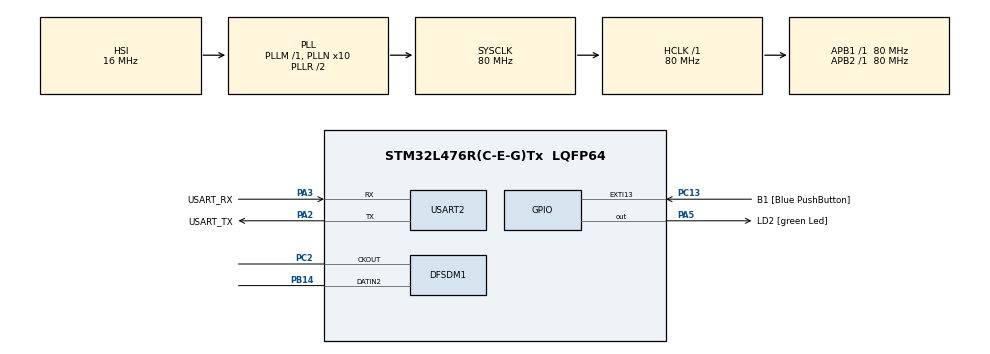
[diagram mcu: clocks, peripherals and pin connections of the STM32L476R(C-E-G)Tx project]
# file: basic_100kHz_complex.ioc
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DFSDM1.Divider=25
DFSDM1.DmaMode_reg_FIL0=ENABLE
DFSDM1.FastMode_reg_FIL0=ENABLE
DFSDM1.Filter_regChannel_FIL0=DFSDM_CHANNEL_2
DFSDM1.Filter_regChannel_FIL1=__NULL
DFSDM1.Filter_regChannel_FIL2=__NULL
DFSDM1.Fosr_FIL0=32
DFSDM1.Iosr_FIL0=1
DFSDM1.Offset_CH2=0
DFSDM1.Oversampling_CH2=10
DFSDM1.RightBitShift_CH2=0x2
DFSDM1.SincOrder_FIL0=DFSDM_FILTER_SINC5_ORDER
Dma.DFSDM1_FLT0.0.Direction=DMA_PERIPH_TO_MEMORY
Dma.DFSDM1_FLT0.0.Instance=DMA1_Channel4
Dma.DFSDM1_FLT0.0.MemDataAlignment=DMA_MDATAALIGN_WORD
Dma.DFSDM1_FLT0.0.MemInc=DMA_MINC_ENABLE
Dma.DFSDM1_FLT0.0.Mode=DMA_CIRCULAR
Dma.DFSDM1_FLT0.0.PeriphDataAlignment=DMA_PDATAALIGN_WORD
Dma.DFSDM1_FLT0.0.PeriphInc=DMA_PINC_DISABLE
Dma.DFSDM1_FLT0.0.Priority=DMA_PRIORITY_MEDIUM
Dma.Request0=DFSDM1_FLT0
Mcu.Family=STM32L4
Mcu.Name=STM32L476R(C-E-G)Tx
Mcu.Package=LQFP64
NVIC.DMA1_Channel4_IRQn=true\:0\:0\:true\:false\:true\:false
NVIC.EXTI15_10_IRQn=true\:0\:0\:false\:false\:true\:true
NVIC.PriorityGroup=NVIC_PRIORITYGROUP_4
NVIC.USART2_IRQn=true\:0\:0\:false\:false\:true\:true
PA13\ (JTMS-SWDIO).GPIO_Label=TMS
PA13\ (JTMS-SWDIO).Mode=Serial_Wire
PA13\ (JTMS-SWDIO).Signal=SYS_JTMS-SWDIO
PA14\ (JTCK-SWCLK).GPIO_Label=TCK
PA14\ (JTCK-SWCLK).Mode=Serial_Wire
PA14\ (JTCK-SWCLK).Signal=SYS_JTCK-SWCLK
PA2.GPIO_Label=USART_TX
PA2.GPIO_Mode=GPIO_MODE_AF_PP
PA2.GPIO_PuPd=GPIO_NOPULL
PA2.GPIO_Speed=GPIO_SPEED_FREQ_VERY_HIGH
PA2.Mode=Asynchronous
PA2.Signal=USART2_TX
PA3.GPIO_Label=USART_RX
PA3.GPIO_Mode=GPIO_MODE_AF_PP
PA3.GPIO_PuPd=GPIO_NOPULL
PA3.GPIO_Speed=GPIO_SPEED_FREQ_VERY_HIGH
PA3.Mode=Asynchronous
PA3.Signal=USART2_RX
PA5.GPIO_Label=LD2 [green Led]
PA5.GPIO_ModeDefaultOutputPP=GPIO_MODE_OUTPUT_PP
PA5.GPIO_PuPd=GPIO_NOPULL
PA5.GPIO_Speed=GPIO_SPEED_FREQ_LOW
PA5.Signal=GPIO_Output
PB14.Signal=S_DATAIN2DFSDM1
PB3\ (JTDO-TRACESWO).GPIO_Label=SWO
PB3\ (JTDO-TRACESWO).Signal=SYS_JTDO-SWO
PC13.GPIO_Label=B1 [Blue PushButton]
PC13.GPIO_ModeDefaultEXTI=GPIO_MODE_IT_FALLING
PC13.GPIO_PuPd=GPIO_NOPULL
PC13.Signal=GPXTI13
PC2.Signal=S_CKOUTDFSDM1
ProjectManager.HeapSize=0x200
ProjectManager.StackSize=0x400
ProjectManager.TargetToolchain=TrueSTUDIO
RCC.ADCFreq_Value=64000000
RCC.AHBFreq_Value=80000000
RCC.APB1Freq_Value=80000000
RCC.APB1TimFreq_Value=80000000
RCC.APB2Freq_Value=80000000
RCC.APB2TimFreq_Value=80000000
RCC.CortexFreq_Value=80000000
RCC.HCLKFreq_Value=80000000
RCC.HSE_VALUE=8000000
RCC.HSI_VALUE=16000000
RCC.LSE_VALUE=32768
RCC.MSI_VALUE=4000000
RCC.PLLN=10
RCC.PLLSourceVirtual=RCC_PLLSOURCE_HSI
RCC.PREFETCH_ENABLE=1
RCC.SYSCLKFreq_VALUE=80000000
RCC.SYSCLKSource=RCC_SYSCLKSOURCE_PLLCLK
RCC.USBFreq_Value=64000000
RCC.VCOOutputFreq_Value=160000000
SH.S_CKOUTDFSDM1.0=DFSDM1_CKOUT,PDM_SPI_input_from_ch2_and_internal_clock
SH.S_CKOUTDFSDM1.1=DFSDM1_CKOUT,CKOUT
SH.S_DATAIN2DFSDM1.0=DFSDM1_DATIN2,PDM_SPI_input_from_ch2_and_internal_clock
USART2.VirtualMode-Asynchronous=VM_ASYNC
USART2.WordLength=WORDLENGTH_8B
board=NUCLEO-L476RG

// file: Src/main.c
/**
  ******************************************************************************
  * @file           : main.c
  * @brief          : Main program body
  ******************************************************************************
  ** This notice applies to any and all portions of this file
  * that are not between comment pairs USER CODE BEGIN and
  * USER CODE END. Other portions of this file, whether
  * inserted by the user or by software development tools
  * are owned by their respective copyright owners.
  *
  * COPYRIGHT(c) 2018 STMicroelectronics
  *
  * Redistribution and use in source and binary forms, with or without modification,
  * are permitted provided that the following conditions are met:
  *   1. Redistributions of source code must retain the above copyright notice,
  *      this list of conditions and the following disclaimer.
  *   2. Redistributions in binary form must reproduce the above copyright notice,
  *      this list of conditions and the following disclaimer in the documentation
  *      and/or other materials provided with the distribution.
  *   3. Neither the name of STMicroelectronics nor the names of its contributors
  *      may be used to endorse or promote products derived from this software
  *      without specific prior written permission.
  *
  * THIS SOFTWARE IS PROVIDED BY THE COPYRIGHT HOLDERS AND CONTRIBUTORS "AS IS"
  * AND ANY EXPRESS OR IMPLIED WARRANTIES, INCLUDING, BUT NOT LIMITED TO, THE
  * IMPLIED WARRANTIES OF MERCHANTABILITY AND FITNESS FOR A PARTICULAR PURPOSE ARE
  * DISCLAIMED. IN NO EVENT SHALL THE COPYRIGHT HOLDER OR CONTRIBUTORS BE LIABLE
  * FOR ANY DIRECT, INDIRECT, INCIDENTAL, SPECIAL, EXEMPLARY, OR CONSEQUENTIAL
  * DAMAGES (INCLUDING, BUT NOT LIMITED TO, PROCUREMENT OF SUBSTITUTE GOODS OR
  * SERVICES; LOSS OF USE, DATA, OR PROFITS; OR BUSINESS INTERRUPTION) HOWEVER
  * CAUSED AND ON ANY THEORY OF LIABILITY, WHETHER IN CONTRACT, STRICT LIABILITY,
  * OR TORT (INCLUDING NEGLIGENCE OR OTHERWISE) ARISING IN ANY WAY OUT OF THE USE
  * OF THIS SOFTWARE, EVEN IF ADVISED OF THE POSSIBILITY OF SUCH DAMAGE.
  *
  ******************************************************************************
  */
#include "main.h"
#include "stm32l4xx_hal.h"
#include "dfsdm.h"
#include "dma.h"
#include "usart.h"
#include "gpio.h"

/* USER CODE BEGIN Includes */
#include "math.h"
#include "stdbool.h"
#include "arm_math.h"
#include "arm_const_structs.h"
#include "chirp.h"
/* USER CODE END Includes */

/* USER CODE BEGIN PV */
/* Private variables ---------------------------------------------------------*/

// flag: "new PCM data has just been copied to buf"
bool new_pcm_data = false;

// Audio sample rate and period
float sampling_rate;
float sampling_period;

// DMA peripheral to memory buffer
int32_t buf[PCM_SAMPLES] = { 0 };

// PCM data store for further processing (FFT)
float pcm[PCM_SAMPLES * 2] = { 0.0f };

// FFT
float32_t fft_inout[PCM_SAMPLES * 2] = { 0.0f };
float fft_frequency[PCM_SAMPLES / 2] = { 0.0f };
float fft_window[PCM_SAMPLES * 2] = { 0.0f };
const float WINDOW_SCALE = 2.0f * M_PI / (float) PCM_SAMPLES;

// UART output flag
bool output_result = false;

// UART input
uint8_t rxbuf[1];
bool mult = true;
bool all_data = true;

struct history {
  float mag_max;
  float mag_max_left;
  float mag_max_right;
  uint32_t max_idx;
  uint32_t max_idx_left;
  uint32_t max_idx_right;
  uint32_t start_time;
  uint32_t finish_time;
};

struct history history[SYNC_RESOLUTION];

/* USER CODE END PV */

void SystemClock_Config(void);

/* USER CODE BEGIN PFP */
/* Private function prototypes -----------------------------------------------*/

/* USER CODE END PFP */

/* USER CODE BEGIN 0 */
/*
 * reference: https://www.keil.com/pack/doc/CMSIS/DSP/html/arm_fft_bin_example_f32_8c-example.html
 */
void fft(void) {

  uint32_t start_time = HAL_GetTick();

  // Execute f1 * f2
  if (mult)
    mult_ref_chirp(fft_inout, fft_inout);
  //mult_ref_chirp_sim(fft_input);

  // Windowing
  arm_mult_f32(fft_inout, fft_window, fft_inout, PCM_SAMPLES * 2);

  // Execute complex FFT
  arm_cfft_f32(&arm_cfft_sR_f32_len2048, fft_inout, 0, 1);

  // Calculate magnitude
  arm_cmplx_mag_f32(fft_inout, fft_inout, PCM_SAMPLES);

  // Normalization (Unitary transformation) of magnitude
  arm_scale_f32(fft_inout, 1.0f / sqrtf((float) PCM_SAMPLES), fft_inout,
  PCM_SAMPLES / 2);

  // AC coupling
  for (uint32_t i = 0; i < PCM_SAMPLES / 2; i++) {
    if (fft_frequency[i] < FFT_AC_COUPLING_HZ)
      fft_inout[i] = 1.0f;
    else
      break;
  }

  // Calculate max magnitude
  float mag_max;
  float mag_max_left;
  float mag_max_right;
  uint32_t max_idx;
  uint32_t max_idx_left;
  uint32_t max_idx_right;
  uint32_t center = (F1 + F2) * PCM_SAMPLES / sampling_rate ;
  uint32_t bandwidth = (F2 - F1) * PCM_SAMPLES / sampling_rate;
  arm_max_f32(&fft_inout[center - bandwidth*2], bandwidth*4, &mag_max, &max_idx);
  arm_max_f32(&fft_inout[center - bandwidth*2], bandwidth*2, &mag_max_left, &max_idx_left);
  arm_max_f32(&fft_inout[center], bandwidth*2, &mag_max_right, &max_idx_right);

  uint32_t finish_time = HAL_GetTick();

  for (int i = 1; i < SYNC_RESOLUTION; i++) {
    history[i - 1] = history[i];
  }
  history[SYNC_RESOLUTION - 1].mag_max = mag_max;
  history[SYNC_RESOLUTION - 1].mag_max_left = mag_max_left;
  history[SYNC_RESOLUTION - 1].mag_max_right = mag_max_right;
  history[SYNC_RESOLUTION - 1].max_idx = max_idx;
  history[SYNC_RESOLUTION - 1].max_idx_left = max_idx_left;
  history[SYNC_RESOLUTION - 1].max_idx_right = max_idx_right + bandwidth*2;
  history[SYNC_RESOLUTION - 1].start_time = start_time;
  history[SYNC_RESOLUTION - 1].finish_time = finish_time;
}
/* USER CODE END 0 */

int main(void)
{
  /* USER CODE BEGIN 1 */
  int j, im, re;
  /* USER CODE END 1 */

  /* MCU Configuration----------------------------------------------------------*/

  /* Reset of all peripherals, Initializes the Flash interface and the Systick. */
  HAL_Init();

  /* Configure the system clock */
  SystemClock_Config();

  /* Initialize all configured peripherals */
  MX_GPIO_Init();
  MX_DMA_Init();
  MX_USART2_UART_Init();
  MX_DFSDM1_Init();
  /* USER CODE BEGIN 2 */

  // FFT sampling rate
  sampling_rate = SystemCoreClock / hdfsdm1_channel2.Init.OutputClock.Divider
      / hdfsdm1_filter0.Init.FilterParam.Oversampling
      / hdfsdm1_filter0.Init.FilterParam.IntOversampling;

  // Initialize reference chirp signal
  init_ref_chirp(sampling_rate);

  // Enable UART receive interrupt
  HAL_UART_Receive_IT(&huart2, rxbuf, 1);

  // Enable DMA from DFSDM to buf (peripheral to memory)
  if (HAL_DFSDM_FilterRegularStart_DMA(&hdfsdm1_filter0, buf, PCM_SAMPLES)
      != HAL_OK) {
    Error_Handler();
  }

  // Hanning window
  for (uint32_t i = 0; i < PCM_SAMPLES; i++) {
    j = i * 2;
    fft_window[j] = 0.5f - 0.5f * arm_cos_f32((float) i * WINDOW_SCALE);
    fft_window[j + 1] = fft_window[j];
  }

  // FFT frequency
  for (uint32_t i = 0; i < PCM_SAMPLES / 2; i++) {
    fft_frequency[i] = (float) i * (float) sampling_rate / (float) PCM_SAMPLES;
  }

  // Show starting message
  printf("/// Audio Spectrum Analyzer ///\n\n");
  printf("Sampling rate: %4.1f(kHz)\n", (float) sampling_rate / 1000.0f);
  sampling_period = 1.0f / sampling_rate * PCM_SAMPLES;
  printf("Sampling period: %.1f(msec), Samples per period: %ld\n\n",
      sampling_period * 1000.0f, PCM_SAMPLES);
  printf("Push USER button to output single-shot FFT\n");

  /* USER CODE END 2 */

  /* Infinite loop */
  /* USER CODE BEGIN WHILE */
  while (1) {

    HAL_Delay(1);

    // Wait for next PCM samples from M1
    if (new_pcm_data) {

      for (uint32_t i = 0; i < SYNC_RESOLUTION; i++) {
        int sync_position = ( PCM_SAMPLES / SYNC_RESOLUTION) * i;
        for (uint32_t j = 0; j < PCM_SAMPLES; j++) {
          im = j * 2;
          re = im + 1;
          fft_inout[im] = pcm[j + sync_position];
          fft_inout[re] = 0.0f;
        }
        fft();
      }

      if (output_result) {  // Output debug info

        printf("Magnitude history:\n");
        for (int i = 0; i < SYNC_RESOLUTION; i++) {
          printf("%.1f, %.1f, %.1f, %lu, %lu, %lu, %lu, %lu\n",
              history[i].mag_max, history[i].mag_max_left, history[i].mag_max_right,
              history[i].start_time,
              history[i].finish_time, history[i].max_idx,
              history[i].max_idx_left, history[i].max_idx_right);
        }

        if (all_data) {
          printf("Frequency(Hz),Magnitude\n");
          // FFT
          for (uint32_t i = 0; i < PCM_SAMPLES / 2; i++) {
            printf("%.1f,%e\n", fft_frequency[i], fft_inout[i]);
          }
          printf("EOFFT\n");
          printf("index,Amplitude\n");
          for (uint32_t i = 0; i < PCM_SAMPLES; i++) {
            printf("%lu,%.1f\n", i, pcm[i]);
          }
          printf("EOF\n");
        }

        // Filtered PCM data (e.g., Hanning Window)
        HAL_GPIO_WritePin(LD2_GPIO_Port, LD2_Pin, GPIO_PIN_RESET);
        output_result = false;
      }

      new_pcm_data = false;

    }
  /* USER CODE END WHILE */

  }

}

void SystemClock_Config(void)
{

  RCC_OscInitTypeDef RCC_OscInitStruct;
  RCC_ClkInitTypeDef RCC_ClkInitStruct;
  RCC_PeriphCLKInitTypeDef PeriphClkInit;

    /**Initializes the CPU, AHB and APB busses clocks
    */
  RCC_OscInitStruct.OscillatorType = RCC_OSCILLATORTYPE_HSI;
  RCC_OscInitStruct.HSIState = RCC_HSI_ON;
  RCC_OscInitStruct.HSICalibrationValue = 16;
  RCC_OscInitStruct.PLL.PLLState = RCC_PLL_ON;
  RCC_OscInitStruct.PLL.PLLSource = RCC_PLLSOURCE_HSI;
  RCC_OscInitStruct.PLL.PLLM = 1;
  RCC_OscInitStruct.PLL.PLLN = 10;
  RCC_OscInitStruct.PLL.PLLP = RCC_PLLP_DIV7;
  RCC_OscInitStruct.PLL.PLLQ = RCC_PLLQ_DIV2;
  RCC_OscInitStruct.PLL.PLLR = RCC_PLLR_DIV2;
  if (HAL_RCC_OscConfig(&RCC_OscInitStruct) != HAL_OK)
  {
    _Error_Handler(__FILE__, __LINE__);
  }

    /**Initializes the CPU, AHB and APB busses clocks
    */
  RCC_ClkInitStruct.ClockType = RCC_CLOCKTYPE_HCLK|RCC_CLOCKTYPE_SYSCLK
                              |RCC_CLOCKTYPE_PCLK1|RCC_CLOCKTYPE_PCLK2;
  RCC_ClkInitStruct.SYSCLKSource = RCC_SYSCLKSOURCE_PLLCLK;
  RCC_ClkInitStruct.AHBCLKDivider = RCC_SYSCLK_DIV1;
  RCC_ClkInitStruct.APB1CLKDivider = RCC_HCLK_DIV1;
  RCC_ClkInitStruct.APB2CLKDivider = RCC_HCLK_DIV1;

  if (HAL_RCC_ClockConfig(&RCC_ClkInitStruct, FLASH_LATENCY_4) != HAL_OK)
  {
    _Error_Handler(__FILE__, __LINE__);
  }

  PeriphClkInit.PeriphClockSelection = RCC_PERIPHCLK_USART2|RCC_PERIPHCLK_DFSDM1;
  PeriphClkInit.Usart2ClockSelection = RCC_USART2CLKSOURCE_PCLK1;
  PeriphClkInit.Dfsdm1ClockSelection = RCC_DFSDM1CLKSOURCE_PCLK;
  if (HAL_RCCEx_PeriphCLKConfig(&PeriphClkInit) != HAL_OK)
  {
    _Error_Handler(__FILE__, __LINE__);
  }

    /**Configure the main internal regulator output voltage
    */
  if (HAL_PWREx_ControlVoltageScaling(PWR_REGULATOR_VOLTAGE_SCALE1) != HAL_OK)
  {
    _Error_Handler(__FILE__, __LINE__);
  }

    /**Configure the Systick interrupt time
    */
  HAL_SYSTICK_Config(HAL_RCC_GetHCLKFreq()/1000);

    /**Configure the Systick
    */
  HAL_SYSTICK_CLKSourceConfig(SYSTICK_CLKSOURCE_HCLK);

  /* SysTick_IRQn interrupt configuration */
  HAL_NVIC_SetPriority(SysTick_IRQn, 0, 0);
}

/* USER CODE BEGIN 4 */

/**
 * @brief  Half regular conversion complete callback.
 * @param  hdfsdm_filter : DFSDM filter handle.
 * @retval None
 */
void HAL_DFSDM_FilterRegConvHalfCpltCallback(
    DFSDM_Filter_HandleTypeDef *hdfsdm_filter) {

}

/**
 * @brief  Regular conversion complete callback.
 * @note   In interrupt mode, user has to read conversion value in this function
 using HAL_DFSDM_FilterGetRegularValue.
 * @param  hdfsdm_filter : DFSDM filter handle.
 * @retval None
 */
void HAL_DFSDM_FilterRegConvCpltCallback(
    DFSDM_Filter_HandleTypeDef *hdfsdm_filter) {
  if (!new_pcm_data && (hdfsdm_filter == &hdfsdm1_filter0)) {
    arm_copy_f32(&pcm[PCM_SAMPLES], pcm, PCM_SAMPLES);
    for (uint32_t i = 0; i < PCM_SAMPLES; i++) {
      pcm[i + PCM_SAMPLES] = (float) buf[i];
    }
    new_pcm_data = true;
  }
}

/**
 * @brief  Retargets the C library printf function to the USART.
 * @param  None
 * @retval None
 */
int _write(int file, char *ptr, int len) {
  HAL_UART_Transmit(&huart2, (uint8_t *) ptr, (uint16_t) len, 0xFFFFFFFF);
  return len;
}

/**
 * @brief  GPIO External Interrupt callback
 * @param  GPIO_Pin
 * @retval None
 */
void HAL_GPIO_EXTI_Callback(uint16_t GPIO_Pin) {
  if (GPIO_Pin == GPIO_PIN_13) {  // User button (blue tactile switch)
    HAL_GPIO_WritePin(LD2_GPIO_Port, LD2_Pin, GPIO_PIN_SET);
    output_result = true;
  }
}

void HAL_UART_RxCpltCallback(UART_HandleTypeDef *huart) {

  switch(rxbuf[0]) {
  case '1':
    mult = false;
    all_data = true;
    break;
  case '2':
    mult = true;
    all_data = true;
    break;
  case '3':
    mult = true;
    all_data = false;
    break;
  }

  output_result = true;

  HAL_GPIO_WritePin(LD2_GPIO_Port, LD2_Pin, GPIO_PIN_SET);
  HAL_UART_Receive_IT(&huart2, rxbuf, 1);
}
/* USER CODE END 4 */

void _Error_Handler(char *file, int line)
{
  /* USER CODE BEGIN Error_Handler_Debug */
  printf("Error! Line = %d\n", line);
  /* User can add his own implementation to report the HAL error return state */
  while (1) {
  }
  /* USER CODE END Error_Handler_Debug */
}

/************************ (C) COPYRIGHT STMicroelectronics *****END OF FILE****/
